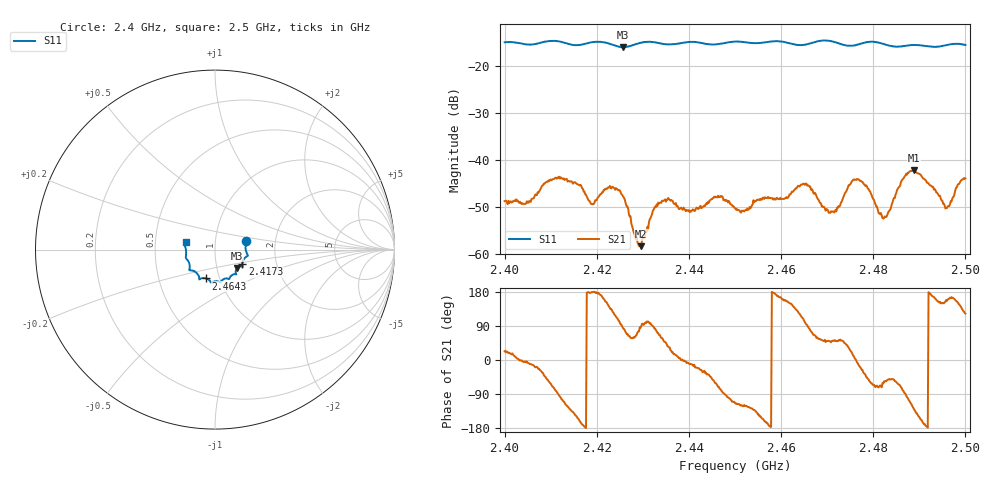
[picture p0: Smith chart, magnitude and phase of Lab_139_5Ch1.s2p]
# Hz S RI R 50
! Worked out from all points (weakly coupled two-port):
!   601 points, 2.4 GHz to 2.5 GHz, reference 50 ohm
!   highest |S21| = -42.20 dB at 2.4888 GHz (marker M1); lowest = -58.3 dB at 2.4297 GHz (marker M2)
!   lowest |S11| = -15.9 dB at 2.4257 GHz (marker M3), VSWR 1.38, Z = 62.4 - j13.1 ohm
!   |S11| at or under -10 dB: start of sweep to end of sweep
!   S12 and S22 are empty: the file has one direction only
!   S11 on the Smith chart (normalised r, x): 2.4 GHz: 1.41, +0.14; 2.4173 GHz: 1.34, -0.23; 2.4643 GHz: 0.86, -0.28; 2.5 GHz: 0.72, +0.06
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2.4e9  0.1734 0.0497  0.00337 0.00143  0 0  0 0
2.404667e9  0.1703 0.0173  0.00343 -0.000391  0 0  0 0
2.411333e9  0.1824 -0.035  0.000615 -0.00631  0 0  0 0
2.416667e9  0.1527 -0.0747  -0.00515 -0.00114  0 0  0 0
2.417333e9  0.1521 -0.0821  -0.0046 -0.000296  0 0  0 0
2.419e9  0.1535 -0.0947  -0.00341 3.78e-05  0 0  0 0
2.422333e9  0.1497 -0.0937  -0.0043 0.00272  0 0  0 0
2.425667e9  0.1226 -0.1025  0.000362 0.00413  0 0  0 0
2.429667e9  0.1172 -0.1348  5.73e-06 0.00121  0 0  0 0
2.433333e9  0.1126 -0.1368  0.00115 0.00334  0 0  0 0
2.440667e9  0.0787 -0.1643  0.00285 -0.000583  0 0  0 0
2.446833e9  0.0418 -0.1686  0.000938 -0.00405  0 0  0 0
2.45e9  0.0296 -0.1809  -0.00122 -0.00284  0 0  0 0
2.464333e9  -0.05 -0.1605  -0.00239 0.00494  0 0  0 0
2.466667e9  -0.0762 -0.1601  0.00141 0.00471  0 0  0 0
2.471e9  -0.0871 -0.1629  0.00181 0.00218  0 0  0 0
2.476833e9  -0.125 -0.1168  0.00608 -0.00144  0 0  0 0
2.481667e9  -0.1413 -0.105  0.000946 -0.00256  0 0  0 0
2.483333e9  -0.1407 -0.0895  0.00179 -0.0022  0 0  0 0
2.488833e9  -0.1621 -0.047  -0.00493 -0.006  0 0  0 0
2.496e9  -0.1673 0.0195  -0.00282 0.00125  0 0  0 0
2.5e9  -0.1636 0.0419  -0.00342 0.00539  0 0  0 0
